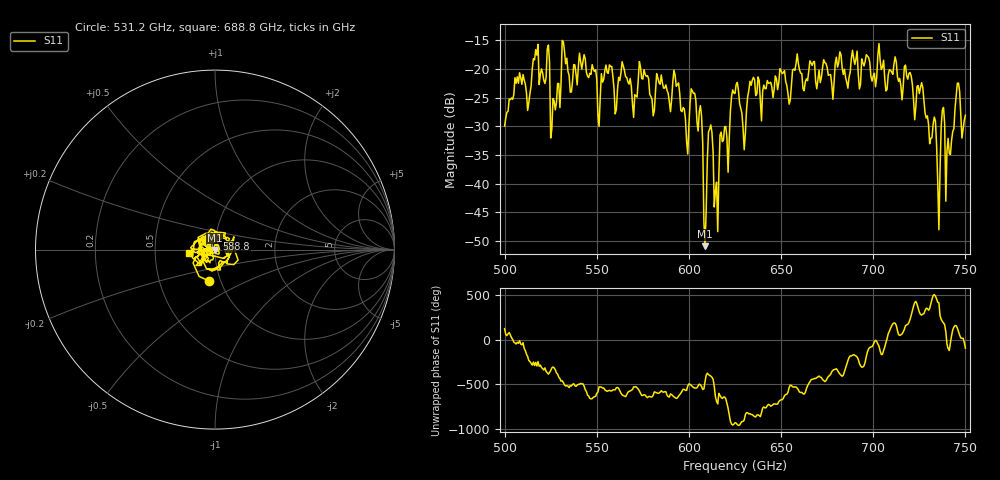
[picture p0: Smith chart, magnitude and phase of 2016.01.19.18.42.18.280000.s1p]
!Created with skrf (http://scikit-rf.org).
# GHz S RI R 50.0
!freq ReS11 ImS11
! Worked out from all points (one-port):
!   401 points, 500 GHz to 750 GHz, reference 50 ohm
!   lowest |S11| = -50.9 dB at 608.8 GHz (marker M1), VSWR 1.01, Z = 49.9 - j0.267 ohm
!   |S11| at or under -10 dB: start of sweep to end of sweep
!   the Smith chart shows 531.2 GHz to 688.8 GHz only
!   S11 on the Smith chart (normalised r, x): 531.2 GHz: 0.88, -0.32; 588.8 GHz: 1.01, +0.12; 688.8 GHz: 0.75, -0.03
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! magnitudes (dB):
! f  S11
! 500 GHz  -30.0
! 506.9 GHz  -21.4
! 513.1 GHz  -25.9
! 516.9 GHz  -16.6
! 523.1 GHz  -16.5
! 526.2 GHz  -25.2
! 531.2 GHz  -15.0
! 562.5 GHz  -22.0
! 588.8 GHz  -24.3
! 593.8 GHz  -22.7
! 598.8 GHz  -32.7
! 602.5 GHz  -24.2
! 606.2 GHz  -26.4
! 608.8 GHz  -50.9
! 611.2 GHz  -30.5
! 615 GHz  -39.7
! 625 GHz  -24.2
! 630 GHz  -34.1
! 634.4 GHz  -21.9
! 656.2 GHz  -20.1
! 687.5 GHz  -20.6
! 688.8 GHz  -16.7
! 718.8 GHz  -21.8
! 735.6 GHz  -48.0
! 737.5 GHz  -27.2
! 740.6 GHz  -32.1
! 745.6 GHz  -22.5
! 750 GHz  -28.1
